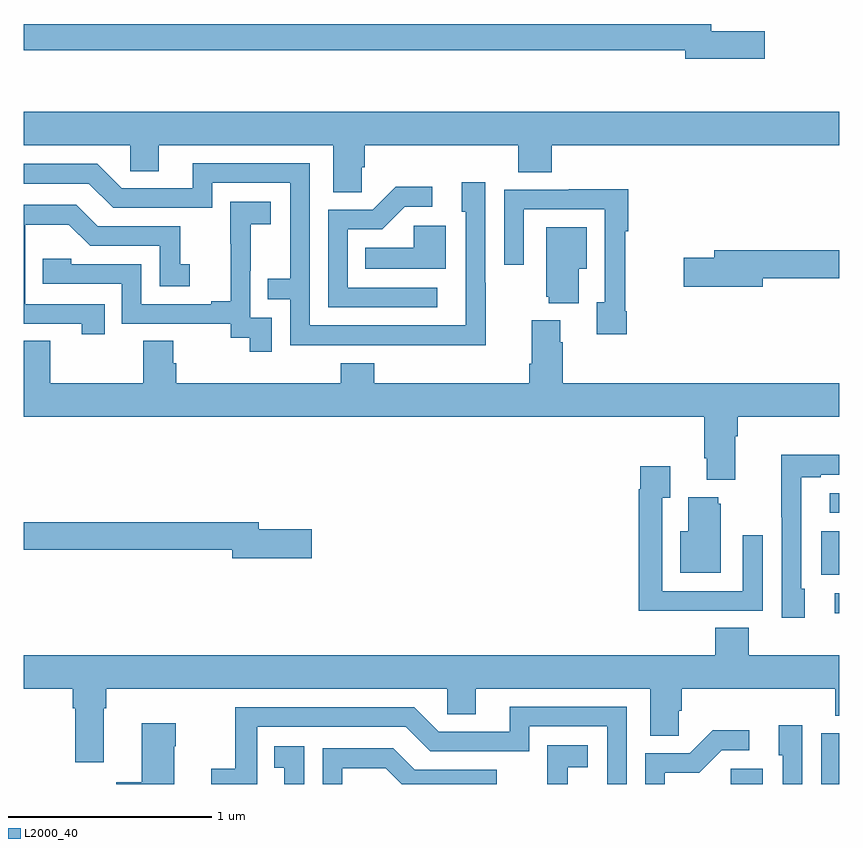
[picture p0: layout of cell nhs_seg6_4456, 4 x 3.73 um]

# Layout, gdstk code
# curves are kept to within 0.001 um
import gdstk
lib = gdstk.Library(unit=1e-6, precision=1e-09)
def R(c, l, rs):  # rectangles x0, y0, x1, y1
    for r in rs: c.add(gdstk.rectangle(r[:2], r[2:], *l))
def P(c, l, *ps):  # polygons
    for p in ps: c.add(gdstk.Polygon(p, *l))
L2000_40 = (2000, 40)

nhs_seg6_4456 = lib.new_cell('nhs_seg6_4456')
R(nhs_seg6_4456, L2000_40, [(376.467,981.5,376.624,981.574), (376.911,981.5,377,981.75), (376.977,982.337,377,982.434), (376.91,982.526,377,982.738), (376.953,982.83,377,982.926)])
P(nhs_seg6_4456, L2000_40, [(376.633,985.19),(376.372,985.19),(376.372,985.226),(373,985.226),(373,985.098),(376.244,985.098),(376.244,985.055),(376.633,985.055)],
  [(374.658,984.523),(374.672,984.523),(374.672,984.632),(375.425,984.632),(375.425,984.499),(375.59,984.499),(375.59,984.632),(377,984.632),(377,984.796),(373,984.796),(373,984.632),(373.524,984.632),(373.524,984.505),(373.663,984.505),(373.663,984.632),(374.519,984.632),(374.519,984.4),(374.658,984.4)],
  [(375.267,983.957),(375.264,983.957),(375.264,984.451),(375.149,984.451),(375.149,984.306),(375.168,984.306),(375.167,983.748),(374.403,983.748),(374.403,984.543),(373.829,984.543),(373.829,984.42),(373.482,984.42),(373.362,984.54),(373,984.54),(373,984.444),(373.32,984.444),(373.44,984.324),(373.926,984.324),(373.926,984.447),(374.307,984.447),(374.307,983.978),(374.197,983.978),(374.197,983.877),(374.307,983.877),(374.307,983.652),(375.267,983.651)],
  [(375.028,983.934),(374.589,983.934),(374.589,984.219),(374.758,984.219),(374.869,984.33),(375.004,984.33),(375.004,984.428),(374.825,984.428),(374.712,984.315),(374.493,984.315),(374.493,983.838),(375.028,983.838)],
  [(375.958,983.818),(375.95,983.818),(375.95,984.211),(375.965,984.211),(375.965,984.416),(375.673,984.416),(375.673,984.414),(375.357,984.414),(375.357,984.045),(375.453,984.045),(375.453,984.318),(375.849,984.318),(375.849,983.862),(375.809,983.862),(375.809,983.706),(375.958,983.706)],
  [(374.217,983.787),(374.112,983.787),(374.112,984.017),(374.114,984.017),(374.114,984.245),(374.212,984.245),(374.212,984.355),(374.014,984.355),(374.014,984.149),(374.015,984.149),(374.015,983.866),(373.919,983.866),(373.919,983.853),(373.578,983.853),(373.578,984.048),(373.233,984.048),(373.233,984.075),(373.093,984.075),(373.093,983.952),(373.482,983.952),(373.482,983.757),(374.016,983.757),(374.016,983.689),(374.109,983.689),(374.109,983.619),(374.217,983.619)],
  [(373.397,983.853),(373.008,983.853),(373.008,984.242),(373.222,984.242),(373.326,984.138),(373.668,984.138),(373.668,983.94),(373.816,983.94),(373.816,984.049),(373.767,984.049),(373.767,984.234),(373.363,984.234),(373.258,984.339),(373,984.339),(373,983.757),(373.286,983.757),(373.286,983.706),(373.397,983.706)],
  [(375.07,984.238),(374.913,984.238),(374.913,984.13),(374.674,984.13),(374.674,984.026),(375.07,984.026)],
  [(375.721,984.026),(375.76,984.026),(375.76,984.229),(375.563,984.229),(375.563,983.889),(375.575,983.889),(375.575,983.858),(375.721,983.858)],
  [(376.624,983.98),(377,983.98),(377,984.116),(376.385,984.116),(376.385,984.08),(376.236,984.08),(376.236,983.938),(376.624,983.938)],
  [(376.489,983.204),(376.502,983.204),(376.502,983.3),(377,983.3),(377,983.464),(375.644,983.464),(375.644,983.666),(375.631,983.666),(375.631,983.773),(375.491,983.773),(375.491,983.56),(375.479,983.56),(375.479,983.464),(374.72,983.464),(374.72,983.563),(374.555,983.563),(374.555,983.464),(373.748,983.464),(373.748,983.562),(373.735,983.562),(373.735,983.672),(373.588,983.672),(373.588,983.464),(373.131,983.464),(373.131,983.672),(373,983.672),(373,983.3),(376.337,983.3),(376.337,983.098),(376.349,983.098),(376.349,982.991),(376.489,982.991)],
  [(376.831,982.458),(376.812,982.458),(376.812,983.004),(376.909,983.004),(376.909,983.016),(377,983.016),(377,983.114),(376.714,983.114),(376.714,982.807),(376.716,982.807),(376.716,982.314),(376.831,982.314)],
  [(376.307,982.35),(376.623,982.35),(376.623,982.72),(376.527,982.72),(376.527,982.446),(376.131,982.446),(376.131,982.903),(376.171,982.903),(376.171,983.059),(376.023,983.059),(376.023,982.946),(376.015,982.946),(376.015,982.349),(376.307,982.349)],
  [(376.417,982.875),(376.406,982.875),(376.406,982.906),(376.259,982.906),(376.259,982.738),(376.22,982.738),(376.22,982.535),(376.417,982.535)],
  [(374.413,982.748),(374.152,982.748),(374.152,982.784),(373,982.784),(373,982.648),(374.024,982.648),(374.024,982.606),(374.413,982.606)],
  [(373.393,981.872),(373.406,981.872),(373.406,981.968),(375.078,981.968),(375.078,981.841),(375.217,981.841),(375.217,981.968),(376.073,981.968),(376.073,981.736),(376.212,981.736),(376.212,981.859),(376.226,981.859),(376.226,981.968),(376.979,981.968),(376.979,981.835),(377,981.835),(377,982.132),(376.556,982.132),(376.556,982.265),(376.391,982.265),(376.391,982.132),(373,982.132),(373,981.968),(373.241,981.968),(373.241,981.872),(373.253,981.872),(373.253,981.606),(373.393,981.606)],
  [(374.145,981.78),(374.874,981.78),(374.994,981.66),(375.48,981.66),(375.48,981.783),(375.861,981.783),(375.861,981.5),(375.957,981.5),(375.957,981.879),(375.383,981.879),(375.383,981.756),(375.036,981.756),(374.916,981.876),(374.037,981.876),(374.037,981.574),(373.919,981.574),(373.919,981.5),(374.145,981.5)],
  [(373.738,981.686),(373.746,981.686),(373.746,981.799),(373.58,981.799),(373.58,981.509),(373.454,981.509),(373.454,981.5),(373.738,981.5)],
  [(376.818,981.787),(376.703,981.787),(376.703,981.642),(376.722,981.642),(376.722,981.5),(376.818,981.5)],
  [(376.143,981.555),(376.312,981.555),(376.423,981.666),(376.558,981.666),(376.558,981.764),(376.379,981.764),(376.266,981.651),(376.047,981.651),(376.047,981.5),(376.143,981.5)],
  [(375.668,981.581),(375.766,981.581),(375.766,981.691),(375.568,981.691),(375.568,981.5),(375.668,981.5)],
  [(374.376,981.685),(374.23,981.685),(374.23,981.579),(374.279,981.579),(374.279,981.5),(374.376,981.5)],
  [(374.562,981.578),(374.776,981.578),(374.854,981.5),(375.321,981.5),(375.321,981.57),(374.917,981.57),(374.812,981.675),(374.466,981.675),(374.466,981.5),(374.562,981.5)])

lib.write_gds('nhs_seg6_4456.gds')
